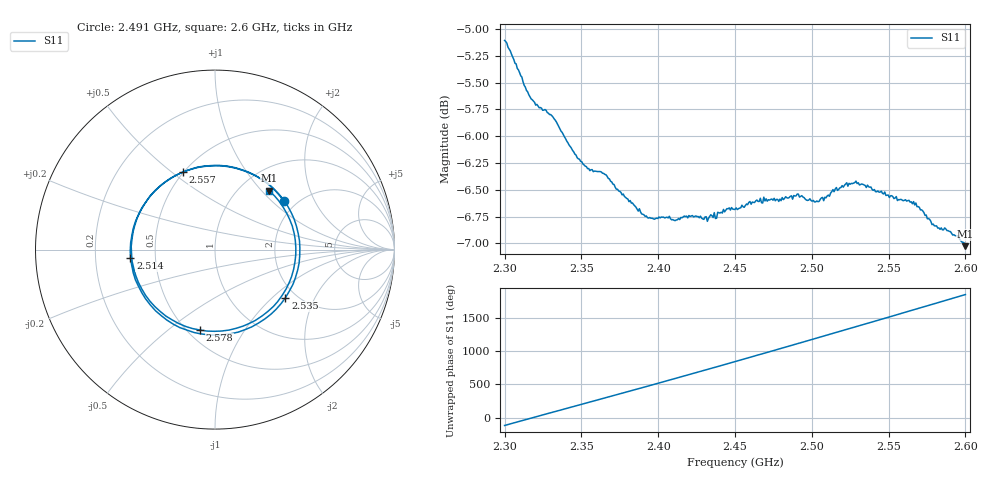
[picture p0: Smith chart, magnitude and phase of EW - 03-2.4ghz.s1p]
! NanoVNA-App
! Date: 2026-05-22 16:00:33
! Start: 2.3GHz Stop: 2.6GHz Points: 401
! S-Parameter data: F S11
# Hz S RI R 50
!  Frequency  S11_Real  S11_Imag
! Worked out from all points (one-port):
!   401 points, 2.3 GHz to 2.6 GHz, reference 50 ohm
!   lowest |S11| = -7.0 dB at 2.6 GHz (marker M1), VSWR 2.61, Z = 67.3 + j55.1 ohm
!   |S11| at or under -10 dB: nowhere
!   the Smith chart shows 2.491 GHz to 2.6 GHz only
!   S11 on the Smith chart (normalised r, x): 2.491 GHz: 1.73, +1.20; 2.514 GHz: 0.36, -0.04; 2.535 GHz: 1.75, -1.22; 2.557 GHz: 0.50, +0.55; 2.578 GHz: 0.57, -0.65; 2.6 GHz: 1.35, +1.10
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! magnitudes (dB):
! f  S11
! 2.3 GHz  -5.1
! 2.302 GHz  -5.2
! 2.317 GHz  -5.7
! 2.332 GHz  -5.8
! 2.337 GHz  -6.0
! 2.346 GHz  -6.2
! 2.353 GHz  -6.3
! 2.365 GHz  -6.3
! 2.375 GHz  -6.5
! 2.392 GHz  -6.7
! 2.413 GHz  -6.8
! 2.421 GHz  -6.7
! 2.431 GHz  -6.8
! 2.446 GHz  -6.7
! 2.45 GHz  -6.7
! 2.465 GHz  -6.6
! 2.487 GHz  -6.6
! 2.491 GHz  -6.5
! 2.503 GHz  -6.6
! 2.514 GHz  -6.5
! 2.525 GHz  -6.4
! 2.535 GHz  -6.5
! 2.557 GHz  -6.6
! 2.562 GHz  -6.6
! 2.568 GHz  -6.6
! 2.578 GHz  -6.8
! 2.594 GHz  -6.9
! 2.6 GHz  -7.0
